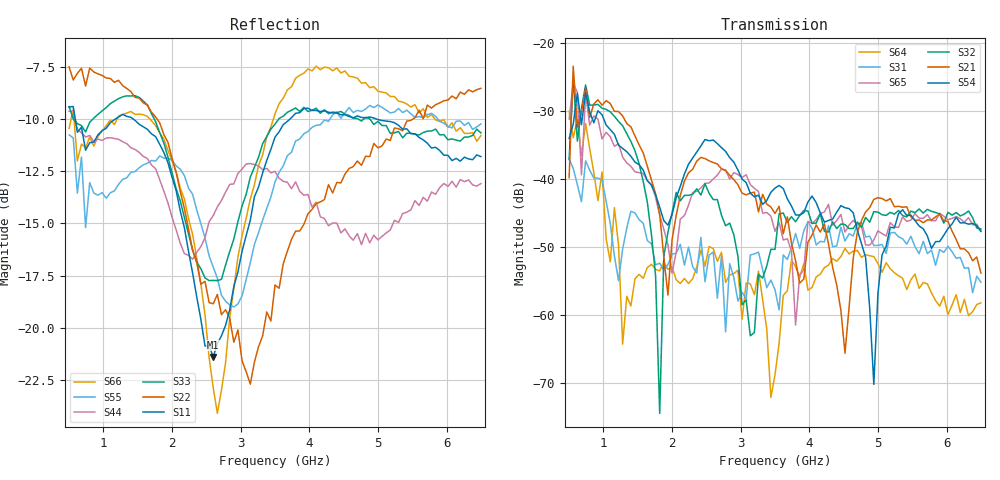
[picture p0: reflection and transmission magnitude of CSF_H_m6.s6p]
!Keysight Technologies,M9804A,MY58100912,A.14.10.03
!Date: Thursday, April 27, 2023 10:28:33
!Correction: S11(C  6-Port  )
!S12(C  6-Port  )
!S13(C  6-Port  )
!S14(C  6-Port  )
!S15(C  6-Port  )
!S16(C  6-Port  )
!S21(C  6-Port  )
!S22(C  6-Port  )
!S23(C  6-Port  )
!S24(C  6-Port  )
!S25(C  6-Port  )
!S26(C  6-Port  )
!S31(C  6-Port  )
!S32(C  6-Port  )
!S33(C  6-Port  )
!S34(C  6-Port  )
!S35(C  6-Port  )
!S36(C  6-Port  )
!S41(C  6-Port  )
!S42(C  6-Port  )
!S43(C  6-Port  )
!S44(C  6-Port  )
!S45(C  6-Port  )
!S46(C  6-Port  )
!S51(C  6-Port  )
!S52(C  6-Port  )
!S53(C  6-Port  )
!S54(C  6-Port  )
!S55(C  6-Port  )
!S56(C  6-Port  )
!S61(C  6-Port  )
!S62(C  6-Port  )
!S63(C  6-Port  )
!S64(C  6-Port  )
!S65(C  6-Port  )
!S66(C  6-Port  )
!S6P File: Measurement: :
# Hz S  RI  R 50
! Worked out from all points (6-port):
!   101 points, 500 MHz to 6.5 GHz, reference 50 ohm
!   strongest paths, dB at 500 MHz, 2 GHz, 3.5 GHz, 5 GHz, 6.5 GHz:
!     S54: -34.1, -45.2, -41.3, -56.8, -47.7
!     S21: -39.8, -48.9, -45.1, -42.7, -53.8
!     S32: -37.1, -45.0, -50.3, -44.9, -47.3
!     S65: -31.2, -53.8, -47.7, -47.6, -47.6
!     S31: -37.1, -51.0, -56.3, -49.8, -55.2
!     S64: -30.0, -52.9, -68.8, -52.4, -58.2
!   lowest |S11| = -21.4 dB at 2.6 GHz (marker M1), VSWR 1.19, Z = 42.4 + j2.2 ohm
!   |S11| at or under -10 dB: 589.6 MHz to 1.17 GHz (580.9 MHz wide, 66 % of centre); 1.437 GHz to 3.715 GHz (2.278 GHz wide, 88.4 % of centre); 4.983 GHz to end of sweep
